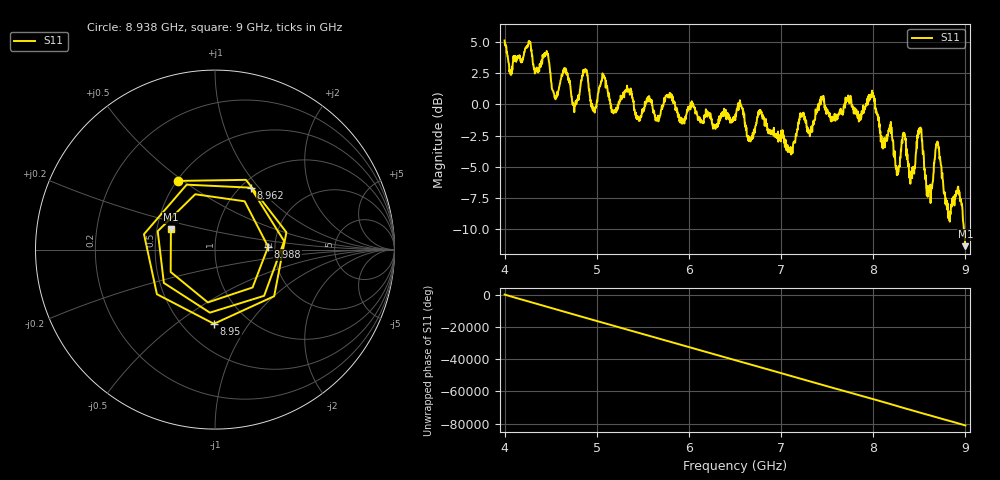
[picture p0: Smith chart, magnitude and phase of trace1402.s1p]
! Created with skrf 1.8.0 (http://scikit-rf.org).
# Hz S RI R 50.0
!freq ReS11 ImS11
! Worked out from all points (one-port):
!   1601 points, 4 GHz to 9 GHz, reference 50 ohm
!   lowest |S11| = -11.4 dB at 9 GHz (marker M1), VSWR 1.74, Z = 29.6 + j7.24 ohm
!   |S11| at or under -10 dB: 8.983901 GHz to end of sweep
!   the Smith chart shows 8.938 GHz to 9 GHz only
!   S11 on the Smith chart (normalised r, x): 8.938 GHz: 0.51, +0.48; 8.95 GHz: 0.70, -0.70; 8.962 GHz: 1.11, +0.91; 8.988 GHz: 1.84, +0.06; 9 GHz: 0.59, +0.14
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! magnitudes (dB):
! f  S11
! 4 GHz  5.1
! 4.066 GHz  2.5
! 4.45 GHz  4.0
! 4.553 GHz  0.4
! 4.625 GHz  2.3
! 4.759 GHz  -0.2
! 4.869 GHz  2.7
! 4.962 GHz  -0.5
! 5.069 GHz  2.2
! 5.25 GHz  0.4
! 5.875 GHz  -0.7
! 6.5 GHz  -1.0
! 7.125 GHz  -3.9
! 7.441 GHz  0.6
! 7.75 GHz  0.4
! 7.991 GHz  0.8
! 8.262 GHz  -5.1
! 8.328 GHz  -2.3
! 8.375 GHz  -4.6
! 8.503 GHz  -2.0
! 8.6 GHz  -6.9
! 8.697 GHz  -3.0
! 8.816 GHz  -9.0
! 8.938 GHz  -7.3
! 8.95 GHz  -7.7
! 8.962 GHz  -8.0
! 8.988 GHz  -10.6
! 9 GHz  -11.4
